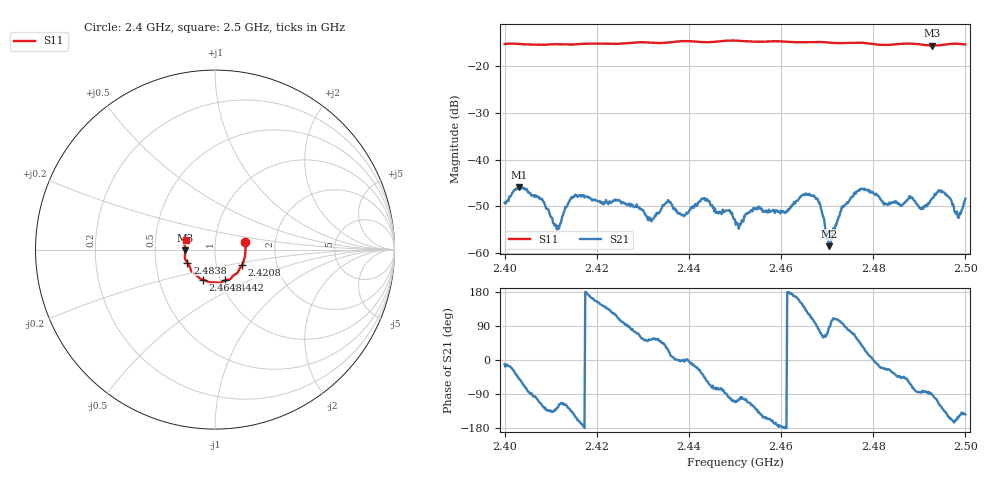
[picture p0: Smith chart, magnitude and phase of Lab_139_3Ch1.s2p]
# Hz S RI R 50
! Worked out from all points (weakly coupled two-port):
!   601 points, 2.4 GHz to 2.5 GHz, reference 50 ohm
!   highest |S21| = -45.86 dB at 2.4032 GHz (marker M1); lowest = -58.5 dB at 2.4705 GHz (marker M2)
!   lowest |S11| = -15.6 dB at 2.4928 GHz (marker M3), VSWR 1.40, Z = 35.8 - j0.361 ohm
!   |S11| at or under -10 dB: start of sweep to end of sweep
!   S12 and S22 are empty: the file has one direction only
!   S11 on the Smith chart (normalised r, x): 2.4 GHz: 1.40, +0.12; 2.4208 GHz: 1.33, -0.24; 2.4442 GHz: 1.05, -0.37; 2.4648 GHz: 0.83, -0.29; 2.4838 GHz: 0.73, -0.11; 2.5 GHz: 0.72, +0.08
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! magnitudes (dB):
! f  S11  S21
! 2.4 GHz  -15.3  -49.2
! 2.4032 GHz  -15.2  -45.9
! 2.408 GHz  -15.4  -48.4
! 2.4113 GHz  -15.3  -54.9
! 2.4167 GHz  -15.2  -48.0
! 2.4208 GHz  -15.2  -49.3
! 2.4333 GHz  -15.0  -51.5
! 2.4442 GHz  -14.9  -48.9
! 2.45 GHz  -14.5  -52.9
! 2.4608 GHz  -14.8  -51.4
! 2.4648 GHz  -14.9  -47.5
! 2.4667 GHz  -14.8  -47.7
! 2.4683 GHz  -14.8  -49.2
! 2.4705 GHz  -15.0  -58.5
! 2.4733 GHz  -15.1  -50.3
! 2.4768 GHz  -15.0  -46.5
! 2.4833 GHz  -15.5  -49.6
! 2.4838 GHz  -15.4  -49.2
! 2.4928 GHz  -15.6  -48.2
! 2.4953 GHz  -15.4  -47.0
! 2.4985 GHz  -15.2  -52.5
! 2.5 GHz  -15.4  -48.4
